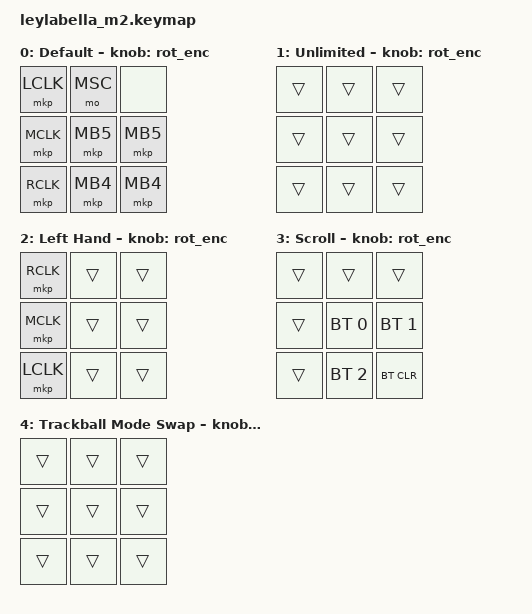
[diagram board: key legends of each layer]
/*
 * Copyright (c) 2020 The ZMK Contributors
 *
 * SPDX-License-Identifier: MIT
 */

#include <zephyr/dt-bindings/input/input-event-codes.h>

#include <behaviors.dtsi>
#include <behaviors/mouse_keys.dtsi>
#include <behaviors/mouse_key_press.dtsi>
#include <behaviors/mouse_key_toggle.dtsi>
#include <dt-bindings/zmk/keys.h>
#include <dt-bindings/zmk/bt.h>
#include <dt-bindings/zmk/rgb.h>
#include <dt-bindings/zmk/ext_power.h>
#include <dt-bindings/zmk/outputs.h>
#include <dt-bindings/zmk/mouse.h>
#include <dt-bindings/zmk/input_transform.h>

#include <input/processors/report_rate_limit.dtsi>

#define DEF 0
#define UNL 1
#define LHB 2
#define MSC 3
#define TBM 4

&zip_report_rate_limit {
        limit-ble-only;
};

/ {
        xy_transf: xy_transf {
                compatible = "zmk,input-processor-transform";
                #input-processor-cells = <1>;
                type = <INPUT_EV_REL>;
                x-codes = <INPUT_REL_X>, <INPUT_REL_WHEEL>;
                y-codes = <INPUT_REL_Y>, <INPUT_REL_HWHEEL>;
        };
        xy_scaler: xy_scaler {
                compatible = "zmk,input-processor-scaler";
                #input-processor-cells = <2>;
                type = <INPUT_EV_REL>;
                codes = <INPUT_REL_X>, <INPUT_REL_Y>;
                track-remainders;
        };
        x_scaler: x_scaler {
                compatible = "zmk,input-processor-scaler";
                #input-processor-cells = <2>;
                type = <INPUT_EV_REL>;
                codes = <INPUT_REL_X>;
        };
        to_wheel: to_wheel {
                compatible = "zmk,input-processor-code-mapper";
                #input-processor-cells = <0>;
                type = <INPUT_EV_REL>;
                map = <INPUT_REL_X INPUT_REL_MISC>, <INPUT_REL_Y INPUT_REL_WHEEL>;
        };

        mou0_mmv_il {
                compatible = "zmk,input-listener";
                device = <&pd0>;
                scroll {
                        layers = <MSC>;
                        process-next;
                        input-processors = <&zip_report_rate_limit 15>
                                         , <&xy_transf (INPUT_TRANSFORM_Y_INVERT)>
                                         , <&xy_scaler 1 40>
                                         , <&x_scaler 0 1>
                                         , <&to_wheel>
                                         ;
                };
                unlimited {
                        layers = <UNL>;
                };
                base {
                        layers = <DEF LHB>;
                        input-processors = <&zip_report_rate_limit 15>;
                };
        };

        // zip_report_rate_limit_alt: zip_report_rate_limit_alt {
        //         compatible = "zmk,input-processor-report-rate-limit";
        //         #input-processor-cells = <1>;
        //         type = <INPUT_EV_REL>;
        //         codes = <INPUT_REL_X INPUT_REL_Y>;
        //         limit-ble-only;
        // };

        // mou0_mmv_il_alt {
        //         compatible = "zmk,input-listener";
        //         device = <&pd0_alt>;
        //         trackball_mode_overriding {
        //                 layers = <TBM>;
        //                 input-processors = <&zip_report_rate_limit_alt 15>;
        //         };
        //         normal_scrolling_mode {
        //                 layers = <DEF UNL LHB MSC>;
        //                 input-processors = <&zip_report_rate_limit_alt 15>
        //                                  , <&xy_transf (INPUT_TRANSFORM_Y_INVERT)>
        //                                  , <&xy_scaler 1 40> // , <&x_scaler 0 1>
        //                                  , <&to_wheel>;
        //         };
        // };

        behaviors {
                ec_s: mouse_scroll {
                        compatible = "zmk,behavior-input-two-axis";
                        #binding-cells = <1>;
                        trigger-period-ms = <12>; // slow down for OTA, default is 3ms
                        x-input-code = <INPUT_REL_HWHEEL>;
                        y-input-code = <INPUT_REL_WHEEL>;
                        time-to-max-speed-ms = <177>;
                        acceleration-exponent = <0>;
                };
                rot_enc: sensor_rotate {
                        compatible = "zmk,behavior-sensor-rotate";
                        #sensor-binding-cells = <0>;
                        bindings = <&ec_s MOVE_Y(-37)>, <&ec_s MOVE_Y(37)>;
                        tap-ms = <65>;
                };
        };

        //*** Top view projection of key position ***
        //   0   3   6   <-- physical layout of L/M/R mouse button key
        //       1       <-- shoulder twins key
        //   4       5   <-- the side buttons
        //   7       8
        combos {
                compatible = "zmk,combos";
                tog_unlimited {
                        timeout-ms = <120>;
                        key-positions = <1 3>;
                        bindings = <&tog UNL>;
                        layers = < DEF UNL LHB MSC TBM >;
                };
                mou_btn_swap {
                        timeout-ms = <120>;
                        key-positions = <7 8>;
                        bindings = <&tog LHB>;
                        layers = < DEF UNL LHB MSC TBM >;
                };

                tbm_swap_l {
                        timeout-ms = <80>;
                        key-positions = <4 7>;
                        bindings = <&tog TBM>;
                        layers = < DEF UNL LHB MSC TBM >;
                };
                tbm_swap_r {
                        timeout-ms = <80>;
                        key-positions = <5 8>; 
                        bindings = <&tog TBM>;
                        layers = < DEF UNL LHB MSC TBM >;
                };
        };

        keymap {
                compatible = "zmk,keymap";
                default_layer {
                        display-name = "Default";
                        bindings = <
   &mkp LCLK       &mo MSC         &none
   &mkp MCLK       &mkp MB5        &mkp MB5
   &mkp RCLK       &mkp MB4        &mkp MB4
                        >;
                        sensor-bindings = <&rot_enc>;
                };
                unlimited_layer {
                        display-name = "Unlimited";
                        bindings = <
   &trans          &trans          &trans
   &trans          &trans          &trans
   &trans          &trans          &trans
                        >;
                        sensor-bindings = <&rot_enc>;
                };
                left_hand_layer {
                        display-name = "Left Hand";
                        bindings = <
   &mkp RCLK       &trans          &trans
   &mkp MCLK       &trans          &trans
   &mkp LCLK       &trans          &trans
                        >;
                        sensor-bindings = <&rot_enc>;
                };
                MSC_layer {
                        display-name = "Scroll";
                        bindings = <
   &trans          &trans          &trans
   &trans          &bt BT_SEL 0    &bt BT_SEL 1
   &trans          &bt BT_SEL 2    &bt BT_CLR
                        >;
                        sensor-bindings = <&rot_enc>;
                };
                TBM_layer {
                        display-name = "Trackball Mode Swap";
                        bindings = <
   &trans      &trans          &trans
   &trans      &trans          &trans
   &trans      &trans          &trans
                        >;
                        sensor-bindings = <&rot_enc>;
                };
       };
};
